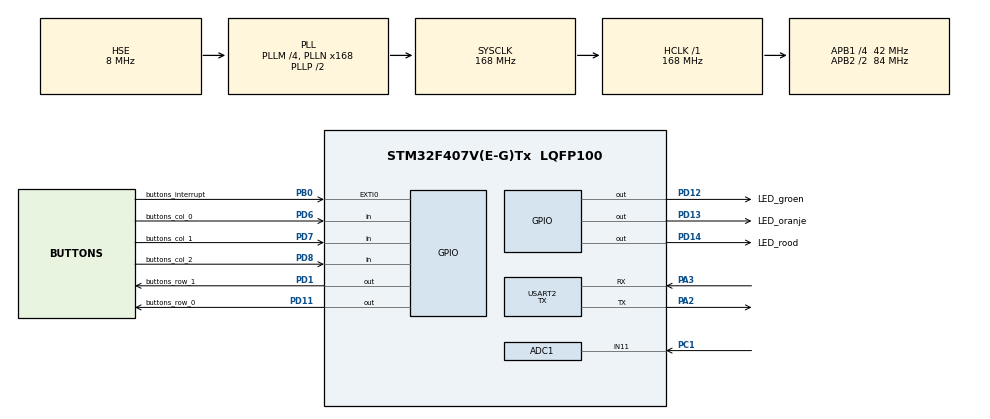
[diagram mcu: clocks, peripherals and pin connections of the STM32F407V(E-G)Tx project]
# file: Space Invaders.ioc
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ADC1.Channel-0\#ChannelRegularConversion=ADC_CHANNEL_11
ADC1.DMAContinuousRequests=ENABLE
ADC1.ExternalTrigConv=ADC_EXTERNALTRIGCONV_T3_TRGO
ADC1.NbrOfConversionFlag=1
ADC1.Rank-0\#ChannelRegularConversion=1
ADC1.SamplingTime-0\#ChannelRegularConversion=ADC_SAMPLETIME_3CYCLES
ADC1.master=1
Dma.ADC1.1.Direction=DMA_PERIPH_TO_MEMORY
Dma.ADC1.1.FIFOMode=DMA_FIFOMODE_DISABLE
Dma.ADC1.1.Instance=DMA2_Stream0
Dma.ADC1.1.MemDataAlignment=DMA_MDATAALIGN_HALFWORD
Dma.ADC1.1.MemInc=DMA_MINC_ENABLE
Dma.ADC1.1.Mode=DMA_CIRCULAR
Dma.ADC1.1.PeriphDataAlignment=DMA_PDATAALIGN_HALFWORD
Dma.ADC1.1.PeriphInc=DMA_PINC_DISABLE
Dma.ADC1.1.Priority=DMA_PRIORITY_LOW
Dma.Request0=USART2_TX
Dma.Request1=ADC1
Dma.USART2_TX.0.Direction=DMA_MEMORY_TO_PERIPH
Dma.USART2_TX.0.FIFOMode=DMA_FIFOMODE_ENABLE
Dma.USART2_TX.0.FIFOThreshold=DMA_FIFO_THRESHOLD_FULL
Dma.USART2_TX.0.Instance=DMA1_Stream6
Dma.USART2_TX.0.MemBurst=DMA_MBURST_SINGLE
Dma.USART2_TX.0.MemDataAlignment=DMA_MDATAALIGN_BYTE
Dma.USART2_TX.0.MemInc=DMA_MINC_ENABLE
Dma.USART2_TX.0.Mode=DMA_NORMAL
Dma.USART2_TX.0.PeriphBurst=DMA_PBURST_SINGLE
Dma.USART2_TX.0.PeriphDataAlignment=DMA_PDATAALIGN_BYTE
Dma.USART2_TX.0.PeriphInc=DMA_PINC_DISABLE
Dma.USART2_TX.0.Priority=DMA_PRIORITY_LOW
Mcu.Family=STM32F4
Mcu.Name=STM32F407V(E-G)Tx
Mcu.Package=LQFP100
NVIC.DMA1_Stream6_IRQn=true\:0\:0\:false\:false\:true\:false\:true\:true
NVIC.DMA2_Stream0_IRQn=true\:0\:0\:false\:false\:true\:false\:true\:true
NVIC.EXTI0_IRQn=true\:0\:0\:false\:false\:true\:true\:true\:true
NVIC.PriorityGroup=NVIC_PRIORITYGROUP_4
NVIC.TIM3_IRQn=true\:0\:0\:false\:false\:true\:true\:true\:true
NVIC.TIM4_IRQn=true\:0\:0\:false\:false\:true\:true\:true\:true
NVIC.USART2_IRQn=true\:0\:0\:false\:false\:true\:true\:true\:true
PA2.Mode=Asynchronous
PA2.Signal=USART2_TX
PA3.Mode=Asynchronous
PA3.Signal=USART2_RX
PB0.GPIO_Label=buttons_interrupt
PB0.GPIO_ModeDefaultEXTI=GPIO_MODE_IT_RISING_FALLING
PB0.GPIO_PuPd=GPIO_PULLDOWN
PB0.Signal=GPXTI0
PC1.Signal=ADCx_IN11
PC14-OSC32_IN.Mode=LSE-External-Oscillator
PC14-OSC32_IN.Signal=RCC_OSC32_IN
PC15-OSC32_OUT.Mode=LSE-External-Oscillator
PC15-OSC32_OUT.Signal=RCC_OSC32_OUT
PD1.GPIO_Label=buttons_row_1
PD1.Signal=GPIO_Output
PD11.GPIO_Label=buttons_row_0
PD11.Signal=GPIO_Output
PD12.GPIO_Label=LED_groen
PD12.Signal=GPIO_Output
PD13.GPIO_Label=LED_oranje
PD13.Signal=GPIO_Output
PD14.GPIO_Label=LED_rood
PD14.Signal=GPIO_Output
PD6.GPIO_Label=buttons_col_0
PD6.Signal=GPIO_Input
PD7.GPIO_Label=buttons_col_1
PD7.Signal=GPIO_Input
PD8.GPIO_Label=buttons_col_2
PD8.Signal=GPIO_Input
PH0-OSC_IN.Mode=HSE-External-Oscillator
PH0-OSC_IN.Signal=RCC_OSC_IN
PH1-OSC_OUT.Mode=HSE-External-Oscillator
PH1-OSC_OUT.Signal=RCC_OSC_OUT
ProjectManager.HeapSize=0x200
ProjectManager.StackSize=0x400
ProjectManager.TargetToolchain=STM32CubeIDE
RCC.48MHZClocksFreq_Value=84000000
RCC.AHBFreq_Value=168000000
RCC.APB1CLKDivider=RCC_HCLK_DIV4
RCC.APB1Freq_Value=42000000
RCC.APB1TimFreq_Value=84000000
RCC.APB2CLKDivider=RCC_HCLK_DIV2
RCC.APB2Freq_Value=84000000
RCC.APB2TimFreq_Value=168000000
RCC.CortexFreq_Value=168000000
RCC.EnbaleCSS=true
RCC.HCLKFreq_Value=168000000
RCC.HSE_VALUE=8000000
RCC.HSI_VALUE=16000000
RCC.PLLM=4
RCC.PLLN=168
RCC.PLLSourceVirtual=RCC_PLLSOURCE_HSE
RCC.SYSCLKFreq_VALUE=168000000
RCC.SYSCLKSource=RCC_SYSCLKSOURCE_PLLCLK
RCC.VCOOutputFreq_Value=336000000
SH.ADCx_IN11.0=ADC1_IN11,IN11
TIM3.AutoReloadPreload=TIM_AUTORELOAD_PRELOAD_ENABLE
TIM3.Period=100-1
TIM3.Prescaler=84-1
TIM3.TIM_MasterOutputTrigger=TIM_TRGO_UPDATE
TIM4.AutoReloadPreload=TIM_AUTORELOAD_PRELOAD_ENABLE
TIM4.Period=50000-1
TIM4.Prescaler=84-1
TIM4.TIM_MasterOutputTrigger=TIM_TRGO_RESET
USART2.Mode=MODE_TX
USART2.VirtualMode=VM_ASYNC
VP_TIM3_VS_ClockSourceINT.Mode=Internal
VP_TIM4_VS_ClockSourceINT.Mode=Internal
board=custom

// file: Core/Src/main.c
/* USER CODE BEGIN Header */
/**
  ******************************************************************************
  * @file           : main.c
  * @brief          : Main program body
  ******************************************************************************
  * @attention
  *
  * Copyright (c) 2026 STMicroelectronics.
  * All rights reserved.
  *
  * This software is licensed under terms that can be found in the LICENSE file
  * in the root directory of this software component.
  * If no LICENSE file comes with this software, it is provided AS-IS.
  *
  * @author 		: Finn van Zijverden, Kim Lobstein, Fabian Meijneken, Bram Laurens
  ******************************************************************************
  */

/* USER CODE END Header */
#include "main.h"

/* USER CODE BEGIN Includes */

#include "UART_handler.h"
#include "dft.h"

/* USER CODE END Includes */

ADC_HandleTypeDef hadc1;
DMA_HandleTypeDef hdma_adc1;

TIM_HandleTypeDef htim3;
TIM_HandleTypeDef htim4;

UART_HandleTypeDef huart2;
DMA_HandleTypeDef hdma_usart2_tx;

/* USER CODE BEGIN PV */
// Game variables
volatile bool update_tick_20hz = false;				// Globaal gedefinieerd omdat deze ook in de it.c wordt gebruikt.
volatile enum gamestates game_status = GAME_RESET;

const bullet_struct bullet_empty = {
	.X_pos = 10,
	.Y_pos = 10,
	.actief = 0,
	.object_ID = 14,						// Dit moet een ongebruikt object_ID zijn, anders zal tijdens het renderen dit object ID steeds gaan "flikkeren"
	.richting = 0
};

uint8_t game_done_flicker_count = 0;
volatile bool button_command_override = false;

// Sprite variables
uint8_t links_rechts; 													// Deze variable geeft aan of de sprites naar links of rechts bewegen. (0 voor links, 1 voor rechts)
int SPRITES_MOVE_FREQ = DEF_SPRITES_MOVE_FREQ;								// Deze deelt een 20 Hz klok. met een waar van 10 bewegen de sprites op 2 Hz.
int aantal_levende_sprites = SPRITES_PER_RIJ * AANTAL_RIJEN_SPRITES;		// Deze variable houdt de hoeveelheid levende sprites bij.
int active_sprite_bullet_count = 0;

// UART variables
uint32_t tx_buffer[UART2_TX_BUFFER_SIZE];
uint8_t uart2_DMA_index, uart2_upload_index = 0;
bool UART2_busy;
uint8_t uart2_DMA_tx_bytes[4] = {0};

// DFT variables
// ADC DMA will continuously fill this block buffer; we copy into ADC_buffer in the DMA callbacks.
#define ADC_DMA_BLOCK_SAMPLES 64
static uint16_t adc_dma_block[ADC_DMA_BLOCK_SAMPLES];
static volatile bool adc_dma_block_ready = false; // Set true when a full 64-sample block has been captured.

int ADC_buffer[ADC_BUFFER_SIZE];
volatile bool buffer_full = false;
volatile uint32_t ADC_index = 0;

/* USER CODE END PV */

void SystemClock_Config(void);
static void MX_GPIO_Init(void);
static void MX_DMA_Init(void);
static void MX_TIM3_Init(void);
static void MX_USART2_UART_Init(void);
static void MX_ADC1_Init(void);
static void MX_TIM4_Init(void);

int main(void)
{

  /* USER CODE BEGIN 1 */

	// Klokdeler init:
	char sprite_move_clock_counter = 1;
	bool sprite_move_clock = false;

	char game_done_clock_counter = 1;
	bool game_done_clock = false;

	// Player init:
	player_struct player;
	player.score = 0;

	// Sprite init:
	sprite_struct sprites[SPRITES_PER_RIJ * AANTAL_RIJEN_SPRITES];

	// Bulet init:
	bullet_struct bullets[MAX_BULLET_AMOUNT];

  /* USER CODE END 1 */

  /* MCU Configuration--------------------------------------------------------*/

  /* Reset of all peripherals, Initializes the Flash interface and the Systick. */
  HAL_Init();

  /* Configure the system clock */
  SystemClock_Config();

  /* Initialize all configured peripherals */
  MX_GPIO_Init();
  MX_DMA_Init();
  MX_TIM3_Init();
  MX_USART2_UART_Init();
  MX_ADC1_Init();
  MX_TIM4_Init();
  /* USER CODE BEGIN 2 */

  HAL_TIM_Base_Start_IT(&htim3);		// Gebruikt voor DFT.
  HAL_TIM_Base_Start_IT(&htim4);		// Gebruikt voor game updates.
  // Capture ADC samples in blocks of 64; HAL will call Conv(Half)Cplt callbacks via DMA.
  HAL_ADC_Start_DMA(&hadc1, (uint32_t*)adc_dma_block, ADC_DMA_BLOCK_SAMPLES);

  init_LUTs();						// Initialiseer de LUTs voor de DFT.
  init_buttons();						// initialize the buttons for command override.

  /* USER CODE END 2 */

  /* Infinite loop */
  /* USER CODE BEGIN WHILE */
	while (1)
	{
		// Debug: only run/print when we have a full ADC buffer and UART2 is idle.
		// NOTE: USART2 is also used for DMA TX to the FPGA; mixing DMA + blocking TX can result in HAL_BUSY.

		#ifdef OUTPUT_DFT_DEBUG
		int msg_length;
		char msg[64];
		float peak;

		peak = DFT_range_peak(600.0f, 1100.0f);
		msg_length = snprintf(msg, sizeof(msg), "DFT Peak 600Hz-1.1kHz: %.2f	", peak);
		(void)HAL_UART_Transmit(&huart2, (uint8_t*)msg, (uint16_t)msg_length, 100);

		peak = DFT_range_peak(1100.0f, 1500.0f);
		msg_length = snprintf(msg, sizeof(msg), "DFT Peak 1.1kHz-1.5kHz: %.2f	", peak);
		(void)HAL_UART_Transmit(&huart2, (uint8_t*)msg, (uint16_t)msg_length, 100);

		peak = DFT_range_peak(1500.0f, 2000.0f);
		msg_length = snprintf(msg, sizeof(msg), "DFT Peak 1.5kHz-2kHz: %.2f		", peak);
		(void)HAL_UART_Transmit(&huart2, (uint8_t*)msg, (uint16_t)msg_length, 100);

		peak = DFT_range_peak(4000.0f, 4500.0f);
		msg_length = snprintf(msg, sizeof(msg), "DFT Peak 4kHz-4.5kHz: %.2f	\r\n", peak);
		(void)HAL_UART_Transmit(&huart2, (uint8_t*)msg, (uint16_t)msg_length, 100);
		#endif

		// Update het spel alleen als de game loopt.
		switch (game_status)
		{
			// Wordt gebruikt aan het begin van het spel, reset alle posities en waardes.
			case GAME_RESET:
				//----- Reset clock -----//
				sprite_move_clock_counter = 1;
				sprite_move_clock = false;

				//----- Reset sprite  variables -----//
				SPRITES_MOVE_FREQ = DEF_SPRITES_MOVE_FREQ;
				aantal_levende_sprites = SPRITES_PER_RIJ * AANTAL_RIJEN_SPRITES;
				links_rechts = 1;

				//----- Reset player -----//
				player.obj_ID =					0;
				player.X_pos = 					PLAYER_X_START;
				player.Y_pos = 					PLAYER_Y_START;
				player.speed = 					PLAYER_MOVE_SPEED;
				player.active_bullet_count = 	0;

				//----- Reset Sprites -----//
				for (uint8_t rij = 0; rij < (AANTAL_RIJEN_SPRITES); rij++)
				{
					for (uint8_t kolom = 0; kolom < (SPRITES_PER_RIJ); kolom ++)
					{
						sprites[(rij * SPRITES_PER_RIJ) + kolom].id = (rij * SPRITES_PER_RIJ) + kolom;
						sprites[(rij * SPRITES_PER_RIJ) + kolom].X_pos = SPRITES_X_OFFSET + (kolom * SPRITES_X_AFSTAND); //=offset + plek * distance
						sprites[(rij * SPRITES_PER_RIJ) + kolom].Y_pos = SPRITES_Y_OFFSET + (rij * SPRITES_Y_AFSTAND); //=offset + plek * distance
						sprites[(rij * SPRITES_PER_RIJ) + kolom].alive = 1;
					}

				}

				//----- Reset Bullets -----//
				for (int i = 0; i < MAX_BULLET_AMOUNT; i++)
				{
					bullets[i] = bullet_empty;
				}

				//----- Verstuur kogel locaties -----//
				for (int i = 0; i < MAX_BULLET_AMOUNT; i++)
				{
					update_FPGA((6 + i),
								(bullets + i)->X_pos,
								(bullets + i)->Y_pos,
								((bullets + i)->richting << 1) | (bullets + i)->actief		// LSB is nu "richting", bitje links daarvan is "actief"
								);
				}

				//----- Verstuur sprite locaties -----//
				// Dit loopt vanaf 1 aangezien de player ID 1 heeft.
				for (int rij = 1; rij <= AANTAL_RIJEN_SPRITES; rij++)
				{
					uint8_t render_bits = 0b0;
					for (int i = 0; i < SPRITES_PER_RIJ; i++)
						render_bits |= ((sprites + ((rij-1) * 6) + i) -> alive) << (SPRITES_PER_RIJ - 1 - i);

					update_FPGA(rij, (sprites + ((rij-1) * 6))->X_pos, (sprites + ((rij-1) * 6))->Y_pos, render_bits);
				}

				game_status = GAME_STARTING;
				break;

			// Wordt gebruikt om na de GAME_RESET alle UART commando's weg te werken. Pas als alles is verstuurd gaan we door.
			case GAME_STARTING :
				if (uart2_DMA_index == uart2_upload_index)
					game_status = GAME_RUNNING;

				break;

			// Loopt tijdens het spel
			case GAME_RUNNING :
				// DFT, bullet en player update.
				if (update_tick_20hz)
				{
					HAL_GPIO_TogglePin(LED_oranje_GPIO_Port, LED_oranje_Pin);
					game_done_flicker_count = 0;			// This is needed to reset the flicker count when coming out of the pauze state.

					//----- DFT update -----//
					run_dft(&player, &bullets, &sprites);

					// Check voor collision
					collision_check_all_bullets(sprites, &player, bullets);

					// Update bullet locatie
					bulletUpdater(bullets, &player);

					// Verstuur kogel locaties
					for (int i = 0; i < MAX_BULLET_AMOUNT; i++)
					{
						update_FPGA((bullets + i)->object_ID,
									(bullets + i)->X_pos,
									(bullets + i)->Y_pos,
									((bullets + i)->richting << 1) | (bullets + i)->actief		// LSB is nu "richting", bitje links daarvan is "actief"
									);
					}

					// Verstuur speler locatie
					update_FPGA(player.obj_ID, player.X_pos, player.Y_pos, (((player.lives & 0b11) << 1) | 0b1));

					// Verstuur de score
					// In de FPGA worden de bitjes van Y achter de bitjes van X geplakt om zo een 19 bits getal te genereren.
					// player.score is een uint16_t
					update_FPGA(SYSTEM_OBJ_ID, (player.score >> 9), (player.score), 0b0);

					// Genereer de sprite_move klok. Dit wordt gedaan met een instelbare frequentie.
					if (sprite_move_clock_counter++ >= (SPRITES_MOVE_FREQ / 3))
					{
					  sprite_move_clock_counter = 1;
					  sprite_move_clock = true;
					}

					update_tick_20hz = false;
				}

				// Sprite update
				if (sprite_move_clock)
				{
					HAL_GPIO_TogglePin(LED_groen_GPIO_Port, LED_groen_Pin);

					// Update sprite locatie
					move_sprites(sprites);

					// Verstuur sprite locaties
					// Dit loopt vanaf 1 aangezien de player ID 1 heeft.
					for (int rij = 1; rij <= AANTAL_RIJEN_SPRITES; rij++)
					{
						uint8_t render_bits = 0b0;
						for (int i = 0; i < SPRITES_PER_RIJ; i++)
							render_bits |= ((sprites + ((rij-1) * 6) + i) -> alive) << (SPRITES_PER_RIJ - 1 - i);

						update_FPGA(rij, (sprites + ((rij-1) * 6))->X_pos, (sprites + ((rij-1) * 6))->Y_pos, render_bits);
					}

					// Zet de "random seed" naar de runtime in miliseconds, deze is max 32 bits.
					// Dit geeft een meer random waarde.
					srand(HAL_GetTick());

					// Laat een random enemy een bullet schieten
					if ((rand() % BULLET_FREQUENCY) == 1)
					{

						// Maak een array met alle levende sprites daarin.
						int alive_sprites[aantal_levende_sprites];
						uint8_t count = 0;

						for (int i = 0; i < (AANTAL_RIJEN_SPRITES * SPRITES_PER_RIJ); i++)
						{
							if (sprites[i].alive)
								alive_sprites[count++] = sprites[i].id;
						}

						int random_sprite = alive_sprites[(rand() % aantal_levende_sprites)];

						// Schiet een bullet vanaf een random levende sprite.
						sprite_shoot(&player,
									bullets,
									sprites,
									random_sprite
									);
					}

					sprite_move_clock = false;
				}

				break;

			// Wordt gebruikt als de speler heeft gewonnen.
			case GAME_WON :
				if (update_tick_20hz)
				{
					if (game_done_clock_counter++ >= 10)
					{
						game_done_clock_counter = 1;
						game_done_clock = true;
					}

					update_tick_20hz = false;
				}

				if (game_done_clock)
				{
					// Verstuur speler locatie (voor een update van de health)
					update_FPGA(player.obj_ID, player.X_pos, player.Y_pos, (((player.lives & 0b11) << 1) | 0b1));

					// Flicker de game_won bit (render bit 0b100)
					if (game_done_flicker_count++ % 2)
						update_FPGA(SYSTEM_OBJ_ID, (player.score >> 9), (player.score), 0b100);
					else
						update_FPGA(SYSTEM_OBJ_ID, (player.score >> 9), (player.score), 0b0);

					if (game_done_flicker_count >= game_won_flicker_duration)
					{
						HAL_Delay(1000);
						game_done_flicker_count = 0;
						game_status = GAME_RESET;
					}

					game_done_clock = false;
				}
				break;

			case GAME_OVER :
				if (update_tick_20hz)
				{
					if (game_done_clock_counter++ >= 10)
					{
						game_done_clock_counter = 1;
						game_done_clock = true;
					}

					update_tick_20hz = false;
				}

				if (game_done_clock)
				{
					player.score = 0;
					player.lives = 3;

					// Verstuur speler locatie (voor een update van de health)
					update_FPGA(player.obj_ID, player.X_pos, player.Y_pos, (((player.lives & 0b11) << 1) | 0b1));

					// Flicker de game_over bit (render bit 0b10)
					if (game_done_flicker_count++ % 2)
						update_FPGA(SYSTEM_OBJ_ID, (player.score >> 9), (player.score), 0b10);
					else
						update_FPGA(SYSTEM_OBJ_ID, (player.score >> 9), (player.score), 0b0);

					if (game_done_flicker_count >= game_over_flicker_duration)
					{
						HAL_Delay(1000);
						game_done_flicker_count = 0;
						game_status = GAME_RESET;
					}

					game_done_clock = false;
				}
				break;

			case GAME_PAUSED :
				if (update_tick_20hz)
				{

					//----- DFT update -----//
					run_dft(&player, &bullets, &sprites);

					if (game_done_clock_counter++ >= 10)
					{
						game_done_clock_counter = 1;
						game_done_clock = true;
					}

					update_tick_20hz = false;
				}
				if (game_done_clock)
				{
					// Flicker de game_over bit (render bit 0b10)
					if (game_done_flicker_count++ % 2)
						update_FPGA(SYSTEM_OBJ_ID, (player.score >> 9), (player.score), 0b1);
					else
						update_FPGA(SYSTEM_OBJ_ID, (player.score >> 9), (player.score), 0b0);

					game_done_clock = false;
				}
				break;

		}

		if (!UART2_busy && !(uart2_DMA_index == uart2_upload_index))
		{
			// UART2 is vrij en er is een nieuw bericht, verstuur deze.

			UART2_busy = true;

			// Haal het te versturen commando op
			uint32_t current_command = tx_buffer[uart2_DMA_index];

			// Splits het commando (uint32_t) op in 4 uint8_t delen. Dit is nodig voor de UART transmision.

			uart2_DMA_tx_bytes[0] = (uint8_t) current_command;
			uart2_DMA_tx_bytes[1] = (uint8_t) (current_command >> 8);
			uart2_DMA_tx_bytes[2] = (uint8_t) (current_command >> 16);
			uart2_DMA_tx_bytes[3] = (uint8_t) (current_command >> 24);

			HAL_UART_Transmit_DMA(&huart2, uart2_DMA_tx_bytes, 4);
		}

    /* USER CODE END WHILE */

  }
}

void SystemClock_Config(void)
{
  RCC_OscInitTypeDef RCC_OscInitStruct = {0};
  RCC_ClkInitTypeDef RCC_ClkInitStruct = {0};

  /** Configure the main internal regulator output voltage
  */
  __HAL_RCC_PWR_CLK_ENABLE();
  __HAL_PWR_VOLTAGESCALING_CONFIG(PWR_REGULATOR_VOLTAGE_SCALE1);

  /** Initializes the RCC Oscillators according to the specified parameters
  * in the RCC_OscInitTypeDef structure.
  */
  RCC_OscInitStruct.OscillatorType = RCC_OSCILLATORTYPE_HSE;
  RCC_OscInitStruct.HSEState = RCC_HSE_ON;
  RCC_OscInitStruct.PLL.PLLState = RCC_PLL_ON;
  RCC_OscInitStruct.PLL.PLLSource = RCC_PLLSOURCE_HSE;
  RCC_OscInitStruct.PLL.PLLM = 4;
  RCC_OscInitStruct.PLL.PLLN = 168;
  RCC_OscInitStruct.PLL.PLLP = RCC_PLLP_DIV2;
  RCC_OscInitStruct.PLL.PLLQ = 4;
  if (HAL_RCC_OscConfig(&RCC_OscInitStruct) != HAL_OK)
  {
    Error_Handler();
  }

  /** Initializes the CPU, AHB and APB buses clocks
  */
  RCC_ClkInitStruct.ClockType = RCC_CLOCKTYPE_HCLK|RCC_CLOCKTYPE_SYSCLK
                              |RCC_CLOCKTYPE_PCLK1|RCC_CLOCKTYPE_PCLK2;
  RCC_ClkInitStruct.SYSCLKSource = RCC_SYSCLKSOURCE_PLLCLK;
  RCC_ClkInitStruct.AHBCLKDivider = RCC_SYSCLK_DIV1;
  RCC_ClkInitStruct.APB1CLKDivider = RCC_HCLK_DIV4;
  RCC_ClkInitStruct.APB2CLKDivider = RCC_HCLK_DIV2;

  if (HAL_RCC_ClockConfig(&RCC_ClkInitStruct, FLASH_LATENCY_5) != HAL_OK)
  {
    Error_Handler();
  }

  /** Enables the Clock Security System
  */
  HAL_RCC_EnableCSS();
}

static void MX_ADC1_Init(void)
{

  ADC_ChannelConfTypeDef sConfig = {0};

  /** Configure the global features of the ADC (Clock, Resolution, Data Alignment and number of conversion)
  */
  hadc1.Instance = ADC1;
  hadc1.Init.ClockPrescaler = ADC_CLOCK_SYNC_PCLK_DIV4;
  hadc1.Init.Resolution = ADC_RESOLUTION_12B;
  hadc1.Init.ScanConvMode = DISABLE;
  hadc1.Init.ContinuousConvMode = DISABLE;
  hadc1.Init.DiscontinuousConvMode = DISABLE;
  hadc1.Init.ExternalTrigConvEdge = ADC_EXTERNALTRIGCONVEDGE_RISING;
  hadc1.Init.ExternalTrigConv = ADC_EXTERNALTRIGCONV_T3_TRGO;
  hadc1.Init.DataAlign = ADC_DATAALIGN_RIGHT;
  hadc1.Init.NbrOfConversion = 1;
  hadc1.Init.DMAContinuousRequests = ENABLE;
  hadc1.Init.EOCSelection = ADC_EOC_SINGLE_CONV;
  if (HAL_ADC_Init(&hadc1) != HAL_OK)
  {
    Error_Handler();
  }

  /** Configure for the selected ADC regular channel its corresponding rank in the sequencer and its sample time.
  */
  sConfig.Channel = ADC_CHANNEL_11;
  sConfig.Rank = 1;
  sConfig.SamplingTime = ADC_SAMPLETIME_3CYCLES;
  if (HAL_ADC_ConfigChannel(&hadc1, &sConfig) != HAL_OK)
  {
    Error_Handler();
  }

}

static void MX_TIM3_Init(void)
{

  TIM_ClockConfigTypeDef sClockSourceConfig = {0};
  TIM_MasterConfigTypeDef sMasterConfig = {0};

  htim3.Instance = TIM3;
  htim3.Init.Prescaler = 84-1;
  htim3.Init.CounterMode = TIM_COUNTERMODE_UP;
  htim3.Init.Period = 100-1;
  htim3.Init.ClockDivision = TIM_CLOCKDIVISION_DIV1;
  htim3.Init.AutoReloadPreload = TIM_AUTORELOAD_PRELOAD_ENABLE;
  if (HAL_TIM_Base_Init(&htim3) != HAL_OK)
  {
    Error_Handler();
  }
  sClockSourceConfig.ClockSource = TIM_CLOCKSOURCE_INTERNAL;
  if (HAL_TIM_ConfigClockSource(&htim3, &sClockSourceConfig) != HAL_OK)
  {
    Error_Handler();
  }
  sMasterConfig.MasterOutputTrigger = TIM_TRGO_UPDATE;
  sMasterConfig.MasterSlaveMode = TIM_MASTERSLAVEMODE_DISABLE;
  if (HAL_TIMEx_MasterConfigSynchronization(&htim3, &sMasterConfig) != HAL_OK)
  {
    Error_Handler();
  }

}

static void MX_TIM4_Init(void)
{

  TIM_ClockConfigTypeDef sClockSourceConfig = {0};
  TIM_MasterConfigTypeDef sMasterConfig = {0};

  htim4.Instance = TIM4;
  htim4.Init.Prescaler = 84-1;
  htim4.Init.CounterMode = TIM_COUNTERMODE_UP;
  htim4.Init.Period = 50000-1;
  htim4.Init.ClockDivision = TIM_CLOCKDIVISION_DIV1;
  htim4.Init.AutoReloadPreload = TIM_AUTORELOAD_PRELOAD_ENABLE;
  if (HAL_TIM_Base_Init(&htim4) != HAL_OK)
  {
    Error_Handler();
  }
  sClockSourceConfig.ClockSource = TIM_CLOCKSOURCE_INTERNAL;
  if (HAL_TIM_ConfigClockSource(&htim4, &sClockSourceConfig) != HAL_OK)
  {
    Error_Handler();
  }
  sMasterConfig.MasterOutputTrigger = TIM_TRGO_RESET;
  sMasterConfig.MasterSlaveMode = TIM_MASTERSLAVEMODE_DISABLE;
  if (HAL_TIMEx_MasterConfigSynchronization(&htim4, &sMasterConfig) != HAL_OK)
  {
    Error_Handler();
  }

}

static void MX_USART2_UART_Init(void)
{

  huart2.Instance = USART2;
  huart2.Init.BaudRate = 115200;
  huart2.Init.WordLength = UART_WORDLENGTH_8B;
  huart2.Init.StopBits = UART_STOPBITS_1;
  huart2.Init.Parity = UART_PARITY_NONE;
  huart2.Init.Mode = UART_MODE_TX;
  huart2.Init.HwFlowCtl = UART_HWCONTROL_NONE;
  huart2.Init.OverSampling = UART_OVERSAMPLING_16;
  if (HAL_UART_Init(&huart2) != HAL_OK)
  {
    Error_Handler();
  }

}

static void MX_DMA_Init(void)
{

  /* DMA controller clock enable */
  __HAL_RCC_DMA1_CLK_ENABLE();
  __HAL_RCC_DMA2_CLK_ENABLE();

  /* DMA interrupt init */
  /* DMA1_Stream6_IRQn interrupt configuration */
  HAL_NVIC_SetPriority(DMA1_Stream6_IRQn, 0, 0);
  HAL_NVIC_EnableIRQ(DMA1_Stream6_IRQn);
  /* DMA2_Stream0_IRQn interrupt configuration */
  HAL_NVIC_SetPriority(DMA2_Stream0_IRQn, 0, 0);
  HAL_NVIC_EnableIRQ(DMA2_Stream0_IRQn);

}

static void MX_GPIO_Init(void)
{
  GPIO_InitTypeDef GPIO_InitStruct = {0};

  /* GPIO Ports Clock Enable */
  __HAL_RCC_GPIOC_CLK_ENABLE();
  __HAL_RCC_GPIOH_CLK_ENABLE();
  __HAL_RCC_GPIOA_CLK_ENABLE();
  __HAL_RCC_GPIOB_CLK_ENABLE();
  __HAL_RCC_GPIOD_CLK_ENABLE();

  /*Configure GPIO pin Output Level */
  HAL_GPIO_WritePin(GPIOD, buttons_row_0_Pin|LED_groen_Pin|LED_oranje_Pin|LED_rood_Pin
                          |buttons_row_1_Pin, GPIO_PIN_RESET);

  /*Configure GPIO pin : buttons_interrupt_Pin */
  GPIO_InitStruct.Pin = buttons_interrupt_Pin;
  GPIO_InitStruct.Mode = GPIO_MODE_IT_RISING_FALLING;
  GPIO_InitStruct.Pull = GPIO_PULLDOWN;
  HAL_GPIO_Init(buttons_interrupt_GPIO_Port, &GPIO_InitStruct);

  /*Configure GPIO pins : buttons_col_2_Pin buttons_col_0_Pin buttons_col_1_Pin */
  GPIO_InitStruct.Pin = buttons_col_2_Pin|buttons_col_0_Pin|buttons_col_1_Pin;
  GPIO_InitStruct.Mode = GPIO_MODE_INPUT;
  GPIO_InitStruct.Pull = GPIO_NOPULL;
  HAL_GPIO_Init(GPIOD, &GPIO_InitStruct);

  /*Configure GPIO pins : buttons_row_0_Pin LED_groen_Pin LED_oranje_Pin LED_rood_Pin
                           buttons_row_1_Pin */
  GPIO_InitStruct.Pin = buttons_row_0_Pin|LED_groen_Pin|LED_oranje_Pin|LED_rood_Pin
                          |buttons_row_1_Pin;
  GPIO_InitStruct.Mode = GPIO_MODE_OUTPUT_PP;
  GPIO_InitStruct.Pull = GPIO_NOPULL;
  GPIO_InitStruct.Speed = GPIO_SPEED_FREQ_LOW;
  HAL_GPIO_Init(GPIOD, &GPIO_InitStruct);

  /* EXTI interrupt init*/
  HAL_NVIC_SetPriority(EXTI0_IRQn, 0, 0);
  HAL_NVIC_EnableIRQ(EXTI0_IRQn);

}

/* USER CODE BEGIN 4 */

//-------------------- Finn van Zijverden --------------------//

// Functie voor het beheren van de 'bullers', functie heeft twee args
// Deze functie returned een uint8_t, het ID van de bullet die zojuist is aangemaakt.

// 'char actie', beheer wat er moet gebeuren:
// actie 1, maak nieuwe bullet
// actie 2, verwijder bullet

// Als actie 2 is, bepaald bulletID welke bullet [0 ... MAX_BULLETS-1] wordt verwijderd. Als de actie 1 is, wordt deze variabel niet gebruikt.
// Als actie 2 wordt spriteID niet gebruikt
// Als actie 1 is, en shot_by_user is 1. Dan schiet de speler 1 bullet, en wordt sprite_num niet gebruikt. Als shot_by_user 0 is, dan wordt de bullet vanaf sprite[sprite_num] geschoten.

// de pointer naar de sprite point naar de sprite die schiet, dus NIET altijd naar de eerste waarde van de array.
void BulletBeheer(bullet_struct* bullets, char actie, int bulletIndex, bool shot_by_user, player_struct* player, sprite_struct* sprite, int sprite_num)
{
	uint8_t currentBullet = 0;

	switch (actie)
	{
	case 1:
		if (shot_by_user)
		{
			// Vragen naar een ID van een bullet die niet in gebruik is
			currentBullet = ID_checker(bullets);

			// De ID-checker geeft 0xFF als er geen bullet vrij is
			if (currentBullet == 0xFF)
				return;

			// Variabelen schrijven naar de vrije bullet index
			(bullets + currentBullet) -> richting = 0;
			(bullets + currentBullet) -> X_pos = player->X_pos;
			(bullets + currentBullet) -> Y_pos = player->Y_pos;
			(bullets + currentBullet) -> object_ID = 6 + currentBullet;

			// Aangeven dat de bullet in gebruik is
			(bullets + currentBullet) -> actief = 1;

			// Er wordt hier geen update naar de FPGA gestuurd, omdat dat door de bulletUpdater wordt gedaan.
		}

		else
		{
			currentBullet = ID_checker(bullets);

			// De ID-checker geeft 0xFF als er geen bullet vrij is
			if (currentBullet == 0xFF)
				return;

			// Variabelen schrijven naar de vrije bullet index
			(bullets + currentBullet) -> richting = 1;
			(bullets + currentBullet) -> X_pos = (sprite + sprite_num) -> X_pos;
			(bullets + currentBullet) -> Y_pos = (sprite + sprite_num) -> Y_pos;
			(bullets + currentBullet) -> object_ID = 6 + currentBullet;

			// Aangeven dat de bullet in gebruik is
			(bullets + currentBullet) -> actief = 1;

			// Er wordt hier geen update naar de FPGA gestuurd, omdat dat door de bulletUpdater wordt gedaan.
		}

		break;

	case 2:

		(bullets + bulletIndex)->actief = 0;
		// Er wordt hier geen update naar de FPGA gestuurd, omdat dat door de bulletUpdater wordt gedaan.

		break;

	default:
		return;

	} // einde van switch case voor actie selecteren
}

// Functie voor het geven van de eerste bullet die niet actief is
// Deze functie heeft geen argumenten
// Functie returned een ID van een vrije bullet, in de vorm van een uint8_t
uint8_t ID_checker(bullet_struct* bullets)
{
	for (int FreeIDchecker = 0; FreeIDchecker < MAX_BULLET_AMOUNT; FreeIDchecker++)
	{
		if ((bullets + FreeIDchecker)->actief == 0)
		{
			return FreeIDchecker;
			break;
		}
	}

	// Als er geen vrije bullets zijn, return 0xFF
	return 0xFF;
}

// Functie voor het updaten van de locaties van de bullets
// Deze update de locatie op basis van de richting van de kogel
void bulletUpdater(bullet_struct* bullets, player_struct* player)
{
	for (uint8_t i = 0; i < MAX_BULLET_AMOUNT; i++)
	{
		if ((bullets + i)->actief)
		{

			// Check of de bullet moet worden verwijderd
			if (((bullets + i)->Y_pos <= BULLET_Y_MIN)
					| ((bullets + i)->Y_pos >= BULLET_Y_MAX))
			{
				// Als de bullet is geschoten door de speler, verlaag de
				if ((bullets + i)->richting == 0)
					player->active_bullet_count--;

				(bullets + i)->actief = false;
				continue;
			}

			// Beweeg de kogel in de juiste richting
			if ((bullets + i)->richting)
				(bullets + i)->Y_pos += BULLET_MOVE_SPEED;
			else
				(bullets + i)->Y_pos -= BULLET_MOVE_SPEED;
		}
	}
}

//-------------------- Einde Finn van Zijverden --------------------//

//-------------------- Kim Lobstein --------------------//

void move_sprites(sprite_struct* sprites){
	bool sprite_raakt_rand = false;

	for (uint8_t i = 0; i < AANTAL_RIJEN_SPRITES * SPRITES_PER_RIJ; i++){
		if (
			(((sprites + i)->X_pos >= MAX_X_SPRITES)
			|| (((sprites + i)->X_pos + SPRITE_BREEDTE) <= MIN_X_SPRITES))
			&& ((sprites + i)->alive == 1)
			)
		{
			sprite_raakt_rand = true;
			break;
		}
	}

	if (sprite_raakt_rand)
	{
		links_rechts = !links_rechts;

		for (uint8_t k = 0; k <  AANTAL_RIJEN_SPRITES * SPRITES_PER_RIJ; k++)
		{
			if ((sprites + k)->alive
				&& (sprites + k)->Y_pos + SPRITE_Y_MOVE_SPEED >= MAX_Y_SPRITES)
			{
				// Game over
				game_status = GAME_OVER;

				return;
			}
			else
			{
				(sprites + k)->Y_pos = (sprites + k)->Y_pos + SPRITE_Y_MOVE_SPEED;
				(sprites + k)->X_pos += links_rechts ? SPRITE_X_MOVE_SPEED : -SPRITE_X_MOVE_SPEED;				// Ternary operator ;)
			}
		}
	}
	else
	{
		for (uint8_t k = 0; k <  AANTAL_RIJEN_SPRITES * SPRITES_PER_RIJ; k++)
		{
				(sprites + k)->X_pos += links_rechts ? SPRITE_X_MOVE_SPEED : -SPRITE_X_MOVE_SPEED;				// Ternary operator ;)
		}
	}
}

// Functie die voor alle actieve bullets een collision check uitvoert.
// Deze functie stopt as
void collision_check_all_bullets(sprite_struct* sprites, player_struct* player, bullet_struct* bullets)
{
	for (int i = 0; i < MAX_BULLET_AMOUNT; i++)
	{
		if ((bullets + i)->actief == 1)
			if (collision_per_bullet(sprites, player, bullets, i))
				continue;
	}
}

//-------------------- Einde Kim Lobstein --------------------//

//-------------------- Fabian Meijneken --------------------//

/**
 * @brief Deze functie veranderd de speler x positie (opgeslagen in een struct).
 *
 * @author Fabian meijneken
 * @date 09/01/2026
 *
 * @param player - pointer naar de player struct
 * @param move_left - char die aangeeft of de speler naar links (1) of rechts (0) moet bewegen
 * @return void
 */
void player_move(player_struct* player, char move_left)
{
    // Controleer of we naar links of rechts moeten bewegen, en verander player.x hiernaar.
    if (move_left == 1)
    {
    	if ((player->X_pos - player->speed) > PLAYER_X_MIN)
            player->X_pos = (int16_t) (player->X_pos - player->speed);
            // Ik gebruik hier een cast om warnings te voorkomen. Beide x en speed zijn van het type int16_t.
			// Deze 16 bit integers worden voor de berekening beide omgezet naar een volledige integer (32 bit).
			// Als de berekening klaar is en ze gaan terug naar en int16_t dan "kan" je data verliezen, ook al is dat niet zo.
			// Om de compiler gerust te stellen gebruik ik dus een cast.

			// Note: dit probleem had ook voorkomen kunnen worden door gewoon integers te gebruiken,
			// maar ik zie dit als een mooie oefening tot het besparen van geheugen.

    } else
    {
    	if ((player->X_pos + player->speed) < PLAYER_X_MAX)
    		player->X_pos = (int16_t) (player->X_pos + player->speed);
    }
}

/**
 * @brief Deze functie laat de speler, als dat kan, een kogel schieten.
 *
 * Als de speler boven een maximaal aantal kogels zit, kan deze niet schieten. Als dat wel kan, roep schiet functie op.
 * Deze functie is void, aangezien de functie over de bullets updates verstuurd.
 * @author Fabian meijneken
 * @date 09/01/2026
 *
 * @param player - pointer naar de player struct
 * @param bullets - pointer naar het eerste item in de bullets array
 * @param sprite - pointer naar het eerste item in de sprite array
 *
 * @return void
 */
void player_shoot(player_struct* player, bullet_struct* bullets, sprite_struct* sprite)
{
    if (player->active_bullet_count < MAX_PLAYER_BULLET_COUNT)
    {
    	// Het bulletIndex en sprite_num moeten worden meegestuurd, maar er wordt niets mee gedaan. Vandaar dat deze hier respectievelijk 1 en 0 zijn.
    	BulletBeheer(bullets, 1, 1, true, player, sprite, 0);

        player-> active_bullet_count++;                 // Update de hoeveelheid kogels die de player momenteel heeft.
    }
}

/**
 * @brief Deze functie laat een enemy, als dat kan, een kogel schieten.
 *
 * @author Fabian meijneken
 * @date 27/01/2026
 *
 * @param player - pointer naar de player struct
 * @param bullets - pointer naar het eerste item in de bullets array
 * @param sprite - pointer naar het eerste item in de sprite array
 *
 * @return void
 */
void sprite_shoot(player_struct* player, bullet_struct* bullets, sprite_struct* sprite, int sprite_num)
{
    // shot by user is hier false. Er zal vanaf sprite x (sprite_num) een bullet worden geschoten.

	if (active_sprite_bullet_count++ <= MAX_SPRITE_BULLET_COUNT)
		BulletBeheer(bullets, 1, 1, false, player, sprite, sprite_num);
}

/**
 * @brief Deze functie checkt of er collision is tussen één bullet en de speler / sprites.
 *
 * @author Fabian meijneken
 * @date 27/01/2026
 *
 * @param sprites - pointer naar het eerste item in de sprite array
 * @param player  - pointer naar de player struct
 * @param bullets - pointer naar het eerste item in de bullets array
 * @param bulletIndex - Geeft aan over welke bullet het momenteel gaat
 *
 * @return int - 0 als er geen collision is, 1 als er collision is.
 */
int collision_per_bullet(sprite_struct* sprites, player_struct* player, bullet_struct* bullets, uint8_t bulletIndex)				//BB 0 voor omhoog, 1 voor omlaag
{

	// Check of de kogel de speler raakt. de x en y positie van de kogel zijn de x en y positie van de linkerbovenhoek van de kogel sprite .
	// Belangrijk is dat de kogel zich in een 32x32 sprite bevindt. Als de kogel naar beneden gaat, zit deze tegen de onderkant van zijn sprite aan.
	// Gaat hij omhoog, zit de kogel tegen de bovenkant van zijn sprite aan.
	// De kogel zal ALTIJD horizontaal in het midden van zijn sprite zitten.

	// Ook de speler zit gecentreerd in zijn sprite.

	// Belangrijke constanten die deze functie gebruikt:
	// - BULLET_BREEDTE: De breedte van de kogel sprite in pixels
	// - BULLET_LENGTE: De lengte van de kogel sprite in pixels
	// - SPELER_BREEDTE: De breedte van de speler sprite in pixels
	// - SPELER_LENGTE: De lengte van de speler sprite in pixels

	if ((bullets + bulletIndex)->richting)		// De kogel beweegt omlaag, check of de kogel een speler raakt.
	{
		if ( ((bullets + bulletIndex)->X_pos + 16 + (BULLET_BREEDTE / 2)) >= (player->X_pos + 16 - (SPELER_BREEDTE / 2))		// Rechterkant van kogel (x locatie) moet groter zijn dan linkerkant van speler (x locatie)
			&& (bullets + bulletIndex)->X_pos + 16 - (BULLET_BREEDTE / 2) <= player->X_pos + 16 + (SPELER_BREEDTE / 2)			// Linkerkant van de kogel (x locatie) moet kleiner zijn dan rechterkant van speler (x locatie)
			&& (bullets + bulletIndex)->Y_pos + BULLET_LENGTE >= player->Y_pos
			&& (bullets + bulletIndex)->Y_pos + BULLET_LENGTE <= player->Y_pos + SPELER_LENGTE		// Check of de kogel y binnen de speler y valt
		   )
		{
			// Verwijder betreffende bullet
			BulletBeheer(bullets, 2, bulletIndex, true, player, sprites, 0);		// In deze call maken alleen de argumenten "bullets", "actie" (2) en "bulletIndex", uit. player en sprites worden bij actie=2 genegeerd.
			active_sprite_bullet_count--;

			if (--(player->lives) == 0)
				game_status = GAME_OVER;

			return 1;
		}
	}
	else		// De kogel beweegt omhoog, check of de kogel een sprite raakt.
	{
		for (int i = 0; i < (AANTAL_RIJEN_SPRITES * SPRITES_PER_RIJ); i++)
		{
			if ((sprites + i)->alive == 1)		// Alleen checken als de sprite leeft
			{
				if ( ((bullets + bulletIndex)->X_pos + 16 + (BULLET_BREEDTE / 2)) >= ((sprites + i)->X_pos + 16 - (SPRITE_BREEDTE / 2))		// Rechterkant van kogel (x locatie) moet groter zijn dan linkerkant van sprite (x locatie)
					&& (bullets + bulletIndex)->X_pos + 16 - (BULLET_BREEDTE / 2) <= ((sprites + i)->X_pos + 16 + (SPRITE_BREEDTE / 2))		// Linkerkant van de kogel (x locatie) moet kleiner zijn dan rechterkant van sprite (x locatie)
					&& (bullets + bulletIndex)->Y_pos >= ((sprites + i)->Y_pos)
					&& (bullets + bulletIndex)->Y_pos <= ((sprites + i)->Y_pos + SPRITE_LENGTE)
				   )
				{
					// Controleer of alle sprites dood zijn
					if (--aantal_levende_sprites == 0)
					{
						game_status = GAME_WON;
						player->lives++;

						if (player->lives > 3)
							player->lives = 3;

						return 1;
					}

					// Er is een collision, maak de sprite dood.
					(sprites + i)->alive = 0;

					// Update score
					player->score += SCORE_PER_ENEMIE;

					// Versnel het spel
					SPRITES_MOVE_FREQ -= 1;

					// Verwijder betreffende bullet
					BulletBeheer(bullets, 2, bulletIndex, true, player, sprites, 0);		// In deze call maken alleen de argumenten "bullets", "actie" (2) en "bulletIndex", uit. player en sprites worden bij actie=2 genegeerd.
					player->active_bullet_count--;

					// Verstuur sprite locaties
					for (int rij = 1; rij <= AANTAL_RIJEN_SPRITES; rij++)
					{
						uint8_t render_bits = 0b0;
						for (int i = 0; i < SPRITES_PER_RIJ; i++)
							render_bits |= ((sprites + ((rij-1) * 6) + i) -> alive) << (SPRITES_PER_RIJ - 1 - i);

						update_FPGA(rij, (sprites + ((rij-1) * 6))->X_pos, (sprites + ((rij-1) * 6))->Y_pos, render_bits);
					}

					// return 1, zodat er niet meerdere items kunnen doodgaan aan 1 bullet.
					return 1;
				}
			}
		}
	}

	return 0;
}

//-------------------- Einde Fabian Meijneken --------------------//

void HAL_ADC_ConvCpltCallback(ADC_HandleTypeDef *hadc)
{
	if (hadc->Instance != ADC1)
		return;

	HAL_GPIO_TogglePin(LED_rood_GPIO_Port, LED_rood_Pin);

	// Copy second half of the DMA block into the circular buffer.
	for (uint32_t i = ADC_DMA_BLOCK_SAMPLES / 2; i < ADC_DMA_BLOCK_SAMPLES; i++)
	{
		ADC_buffer[ADC_index] = (int)adc_dma_block[i];
		ADC_index++;
		if (ADC_index >= ADC_BUFFER_SIZE)
		{
			ADC_index = 0;
			buffer_full = true;
		}
	}

	// Signal main loop that a full 64-sample block has been captured.
	adc_dma_block_ready = true;
}

void HAL_ADC_ConvHalfCpltCallback(ADC_HandleTypeDef *hadc)
{
	if (hadc->Instance != ADC1)
		return;

	// Copy first half of the DMA block into the circular buffer.
	for (uint32_t i = 0; i < ADC_DMA_BLOCK_SAMPLES / 2; i++)
	{
		ADC_buffer[ADC_index] = (int)adc_dma_block[i];
		ADC_index++;
		if (ADC_index >= ADC_BUFFER_SIZE)
		{
			ADC_index = 0;
			buffer_full = true;
		}
	}
}

//-------------------- UART callback --------------------//
void HAL_UART_TxCpltCallback(UART_HandleTypeDef *huart)
{
	uart2_DMA_index++;

	// Zorg dat de uart2_DMA_index niet buiten de buffer staat.
	if (uart2_DMA_index > (UART2_TX_BUFFER_SIZE - 1))
		uart2_DMA_index = 0;

	UART2_busy = false;
}

/* USER CODE END 4 */

void Error_Handler(void)
{
  __disable_irq();
  while (1)
  {
  }
}
